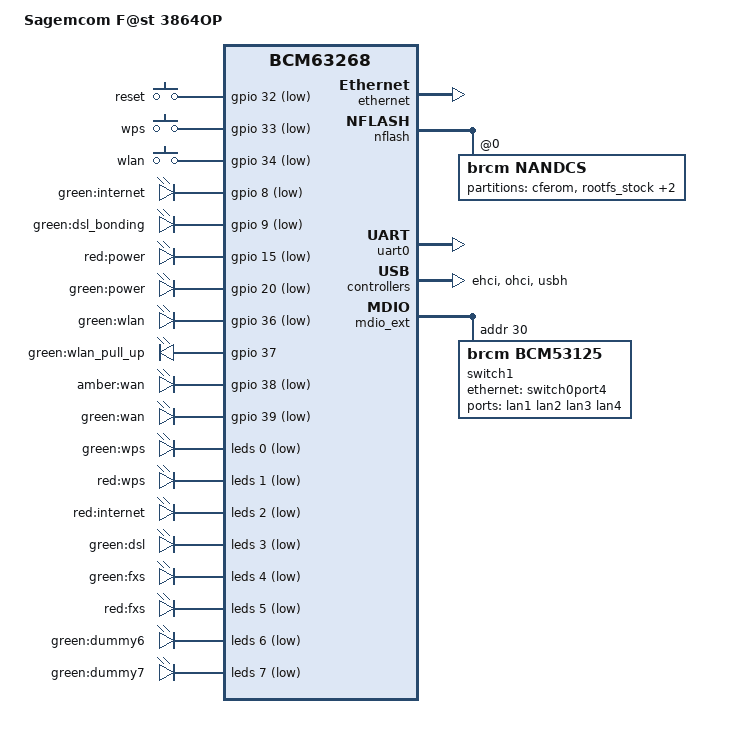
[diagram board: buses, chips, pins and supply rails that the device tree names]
// SPDX-License-Identifier: GPL-2.0-or-later

#include "bcm63268.dtsi"

/ {
	model = "Sagemcom F@st 3864OP";
	compatible = "sagem,fast-3864op", "brcm,bcm63168", "brcm,bcm63268";

	aliases {
		led-boot = &led_power_green;
		led-failsafe = &led_power_red;
		led-running = &led_power_green;
		led-upgrade = &led_power_green;

		led-dsl = &led_dsl_green;
		led-internet = &led_internet_green;
		led-usb = &led_usb_green;
	};

	keys {
		compatible = "gpio-keys-polled";
		poll-interval = <20>;

		reset {
			label = "reset";
			gpios = <&gpio 32 GPIO_ACTIVE_LOW>;
			linux,code = <KEY_RESTART>;
			debounce-interval = <60>;
		};

		wps {
			label = "wps";
			gpios = <&gpio 33 GPIO_ACTIVE_LOW>;
			linux,code = <KEY_WPS_BUTTON>;
			debounce-interval = <60>;
		};

		wlan {
			label = "wlan";
			gpios = <&gpio 34 GPIO_ACTIVE_LOW>;
			linux,code = <KEY_WLAN>;
			debounce-interval = <60>;
		};
	};

	leds {
		compatible = "gpio-leds";

		led_internet_green: led@8 {
			gpios = <&gpio 8 GPIO_ACTIVE_LOW>;
			label = "green:internet";
		};

		led_usb_green: led@9 {
			gpios = <&gpio 9 GPIO_ACTIVE_LOW>;
			label = "green:dsl_bonding";
		};

		led_power_red: led@15 {
			gpios = <&gpio 15 GPIO_ACTIVE_LOW>;
			label = "red:power";
		};

		led_power_green: led@20 {
			gpios = <&gpio 20 GPIO_ACTIVE_LOW>;
			label = "green:power";
			default-state = "on";
		};

		led@36 {
			gpios = <&gpio 36 GPIO_ACTIVE_LOW>;
			label = "green:wlan";
		};

		led@37 {
			gpios = <&gpio 37 GPIO_ACTIVE_HIGH>;
			label = "green:wlan_pull_up";
			default-state = "on";
		};

		led@38 {
			gpios = <&gpio 38 GPIO_ACTIVE_LOW>;
			label = "amber:wan";
		};

		led@39 {
			gpios = <&gpio 39 GPIO_ACTIVE_LOW>;
			label = "green:wan";
		};
	};
};

&ethernet {
	status = "okay";

	nvmem-cells = <&macaddr_cferom_6a0>;
	nvmem-cell-names = "mac-address";
};

&leds {
	status = "okay";
	brcm,serial-leds;
	brcm,serial-dat-low;
	brcm,serial-shift-inv;

	pinctrl-names = "default";
	pinctrl-0 = <&pinctrl_serial_led>;

	led@0 {
		reg = <0>;
		active-low;
		label = "green:wps";
	};

	led@1 {
		reg = <1>;
		active-low;
		label = "red:wps";
	};

	led@2 {
		reg = <2>;
		active-low;
		label = "red:internet";
	};

	led_dsl_green: led@3 {
		reg = <3>;
		active-low;
		label = "green:dsl";
	};

	led@4 {
		reg = <4>;
		active-low;
		label = "green:fxs";
	};

	led@5 {
		reg = <5>;
		active-low;
		label = "red:fxs";
	};

	led@6 {
		reg = <6>;
		active-low;
		label = "green:dummy6";
	};

	led@7 {
		reg = <7>;
		active-low;
		label = "green:dummy7";
	};
};

&nflash {
	status = "okay";

	nandcs@0 {
		compatible = "brcm,nandcs";
		reg = <0>;
		nand-ecc-step-size = <512>;
		nand-ecc-strength = <15>;
		nand-on-flash-bbt;
		brcm,nand-oob-sector-size = <64>;

		partitions {
			compatible = "fixed-partitions";
			#address-cells = <1>;
			#size-cells = <1>;

			cferom: partition@0 {
				label = "cferom";
				reg = <0x00000000 0x00020000>;
				read-only;
			};

			partition@20000 {
				label = "rootfs_stock";
				reg = <0x00020000 0x03d60000>;
				read-only;
			};

			partition@3d80000 {
				label = "rootfs_update";
				reg = <0x03d80000 0x03d60000>;
			};

			partition@7b00000 {
				label = "data_stock";
				reg = <0x07b00000 0x400000>;
				read-only;
			};
		};
	};
};

&uart0 {
	status = "okay";
};

&ehci {
	status = "okay";
};

&ohci {
	status = "okay";
};

&usbh {
	status = "okay";
};

&switch0 {
    dsa,member = <0 0>;

	ports {
		port@3 {
			reg = <3>;
			label = "wan";

			phy-handle = <&phy4>;
		};

		switch0port4: port@4 {
			reg = <4>;
			label = "extsw";

			phy-mode = "rgmii";

			fixed-link {
				speed = <1000>;
				full-duplex;
			};
		};
	};
};

&mdio_ext {
	switch1@1e {
		compatible = "brcm,bcm53125";
		reg = <0x1e>;
		dsa,member = <1 0>;

		ports {
			#address-cells = <1>;
			#size-cells = <0>;

			port@4 {
				reg = <4>;
				label = "lan1";
			};

			port@3 {
				reg = <3>;
				label = "lan2";
			};

			port@2 {
				reg = <2>;
				label = "lan3";
			};

			port@1 {
				reg = <1>;
				label = "lan4";
			};

			port@8 {
				reg = <8>;

				phy-mode = "rgmii";
				ethernet = <&switch0port4>;

				fixed-link {
					speed = <1000>;
					full-duplex;
					asym-pause;
					pause;
				};
			};
		};
	};
};

&cferom {
	compatible = "nvmem-cells";
	#address-cells = <1>;
	#size-cells = <1>;

	macaddr_cferom_6a0: macaddr@6a0 {
		reg = <0x6a0 0x6>;
	};
};
